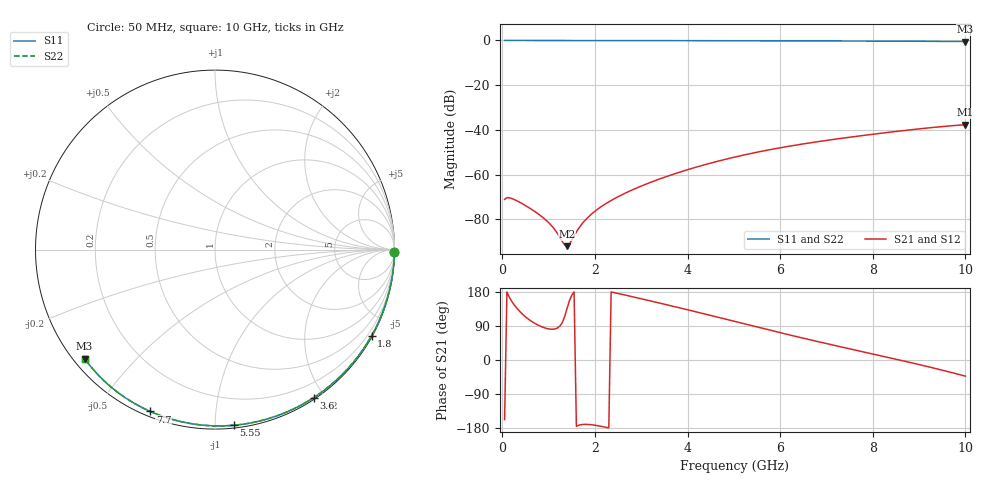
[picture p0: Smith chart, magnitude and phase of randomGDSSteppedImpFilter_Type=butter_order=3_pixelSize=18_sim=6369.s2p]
! freq	dB(S11)	phase(S11)	dB(S12)	phase(S12)
!  dB(S21)	phase(S21)	dB(S22)	phase(S22)
!S-par simulation data
#  GHz  S  DB  R 50
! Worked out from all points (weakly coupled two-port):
!   200 points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, 50 MHz to 10 GHz, reference 50 ohm
!   highest |S21| = -37.66 dB at 10 GHz (marker M1); lowest = -92.0 dB at 1.4 GHz (marker M2)
!   lowest |S11| = -0.5 dB at 10 GHz (marker M3), VSWR 36.64, Z = 1.54 - j18.1 ohm
!   |S11| at or under -10 dB: nowhere
!   |S22| runs from -0.5 to 0.0 dB; largest |S21 - S12| = 0
!   S11 on the Smith chart (normalised r, x): 50 MHz: open; 1.8 GHz: 0.03, -3.89; 3.6 GHz: 0.02, -1.87; 5.55 GHz: 0.02, -1.11; 7.7 GHz: 0.02, -0.68; 10 GHz: 0.03, -0.36
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0.05  -0.00 -0.8  -71.07 -157.3  -71.07 -157.3  -0.00 -0.8
0.1  -0.00 -1.6  -70.26 179.8  -70.26 179.8  -0.00 -1.6
0.15  -0.00 -2.4  -70.33 166.2  -70.33 166.2  -0.00 -2.4
0.3  -0.00 -4.9  -71.50 138.8  -71.50 138.8  -0.00 -4.9
0.6  -0.01 -9.7  -75.07 104.7  -75.07 104.7  -0.01 -9.7
0.95  -0.02 -15.4  -80.43 83.5  -80.43 83.5  -0.02 -15.4
1.4  -0.03 -22.5  -91.96 136.8  -91.96 136.8  -0.03 -22.5
1.75  -0.04 -28.0  -81.28 -170.0  -81.28 -170.0  -0.04 -28.0
1.8  -0.04 -28.8  -80.12 -169.8  -80.12 -169.8  -0.04 -28.8
2.1  -0.04 -33.5  -74.81 -174.2  -74.81 -174.2  -0.04 -33.5
2.45  -0.05 -38.9  -70.38 176.9  -70.38 176.9  -0.05 -38.9
2.85  -0.06 -45.0  -66.40 165.8  -66.40 165.8  -0.06 -45.0
3.4  -0.07 -53.3  -61.90 150.1  -61.90 150.1  -0.07 -53.3
3.6  -0.08 -56.3  -60.45 144.4  -60.45 144.4  -0.08 -56.3
4.3  -0.09 -66.4  -55.96 123.6  -55.96 123.6  -0.09 -66.4
5.05  -0.12 -77.0  -51.98 100.9  -51.98 100.9  -0.12 -77.0
5.55  -0.14 -83.8  -49.74 85.6  -49.74 85.6  -0.14 -83.8
6.7  -0.19 -99.1  -45.60 51.8  -45.60 51.8  -0.19 -99.1
7.7  -0.25 -111.8  -42.72 24.1  -42.72 24.1  -0.25 -111.8
8.35  -0.30 -119.9  -41.05 6.3  -41.05 6.3  -0.30 -119.9
9.2  -0.38 -130.4  -39.09 -17.8  -39.09 -17.8  -0.38 -130.4
10  -0.47 -140.1  -37.66 -42.6  -37.66 -42.6  -0.47 -140.1
